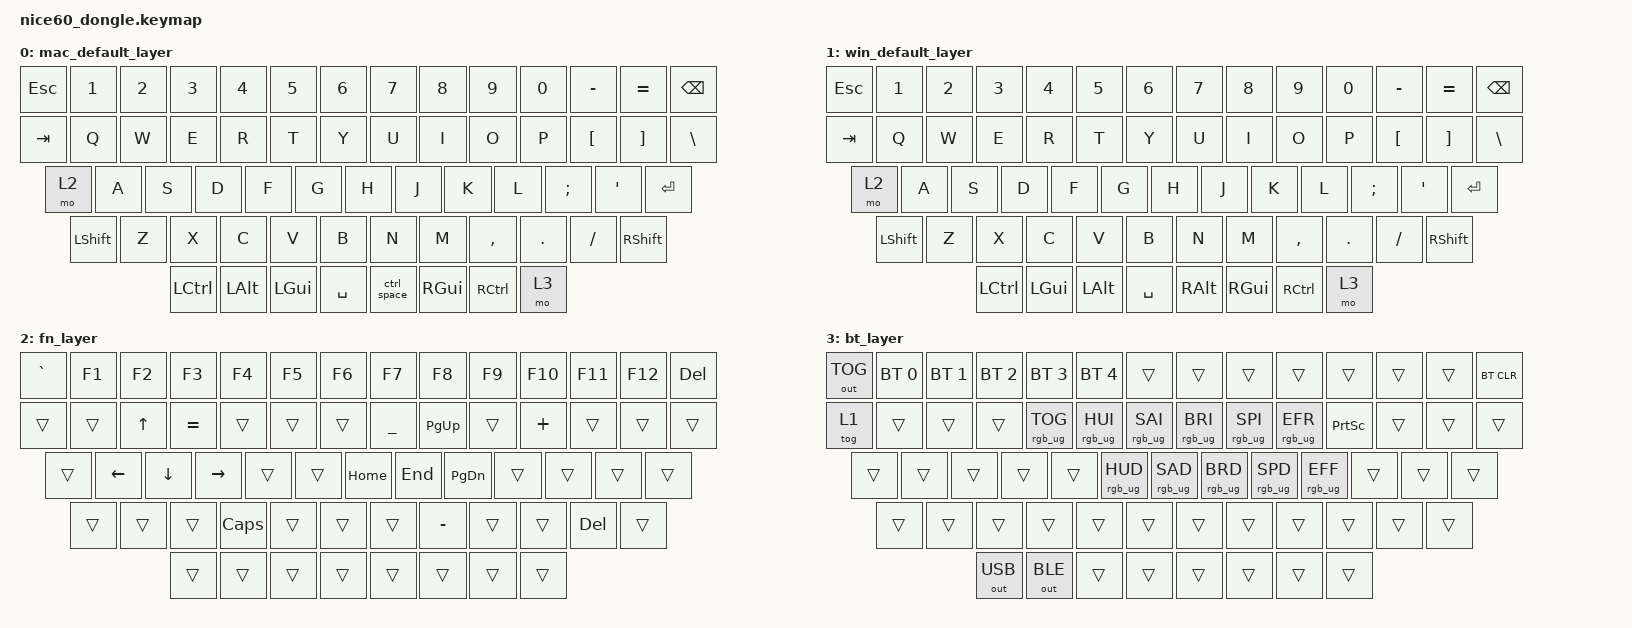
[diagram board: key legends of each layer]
/*
 * Copyright (c) 2021 Nick Winans
 * SPDX-License-Identifier: MIT
 *
 * nice!60 동글 키맵
 * ─────────────────────────────────────────────────────────────
 * 동글(central)이 키맵을 실행한다. peripheral(nice!60)은 키 위치
 * 인덱스만 동글로 전송하며, 동글이 이 파일의 behavior를 수행한다.
 *
 * &out OUT_USB  → 동글을 USB HID 출력으로 전환
 * &out OUT_BLE  → 동글을 BLE 출력으로 전환 (배터리 무선 모드)
 * &out OUT_TOG  → USB ↔ BLE 토글
 * ─────────────────────────────────────────────────────────────
 */

#include <behaviors.dtsi>
#include <dt-bindings/zmk/keys.h>
#include <dt-bindings/zmk/rgb.h>
#include <dt-bindings/zmk/bt.h>
#include <dt-bindings/zmk/outputs.h>
#include <dt-bindings/zmk/reset.h>
#include <dt-bindings/zmk/ext_power.h>

/ {
	macros {
        ctrl_space: ctrl_space {
            label = "ZM_ctrl_space";
            compatible = "zmk,behavior-macro";
            #binding-cells = <0>;
        wait-ms = <30>;
        tap-ms = <40>;
            bindings
                = <&macro_press &kp LCTRL>
                , <&macro_tap &kp SPACE>
                , <&macro_release &kp LCTRL>
                ;
        };
    };

	keymap {
		compatible = "zmk,keymap";

		mac_default_layer {
// ------------------------------------------------------------------------------------------
// | ESC |  1  |  2  |  3  |  4  |  5  |  6  |  7  |  8  |  9  |  0  |  -  |  =  |   BKSP   |
// | TAB  |  Q  |  W  |  E  |  R  |  T  |  Y  |  U  |  I  |  O  |  P  |  [  |  ]  |   "|"   |
// | MO(2) |  A  |  S  |  D  |  F  |  G  |  H  |  J  |  K  |  L  |  ;  |  '  |     ENTER    |
// |  SHIFT  |  Z  |  X  |  C  |  V  |  B  |  N  |  M  |  ,  |  .  |  /  |      SHIFT       |
// |  CTL  |  ALT  |  WIN  |            SPACE              |  ALT  |  WIN  |  CTL  |  MO(3)  |
// ------------------------------------------------------------------------------------------
			bindings = <
	&kp ESC &kp N1 &kp N2 &kp N3 &kp N4 &kp N5 &kp N6 &kp N7 &kp N8 &kp N9 &kp N0 &kp MINUS &kp EQUAL  &kp BSPC
	&kp TAB  &kp Q  &kp W  &kp E  &kp R  &kp T  &kp Y  &kp U  &kp I  &kp O  &kp P  &kp LBKT  &kp RBKT  &kp BSLH
	&mo 2     &kp A  &kp S  &kp D  &kp F  &kp G  &kp H  &kp J  &kp K  &kp L  &kp SEMI &kp SQT           &kp RET
	&kp LSHFT  &kp Z  &kp X  &kp C  &kp V  &kp B  &kp N  &kp M  &kp COMMA &kp DOT &kp FSLH            &kp RSHFT
	&kp LCTRL &kp LALT &kp LGUI             &kp SPACE                      &ctrl_space &kp RGUI &kp RCTRL &mo 3
			>;
		};

		win_default_layer {
// ------------------------------------------------------------------------------------------
// | ESC |  1  |  2  |  3  |  4  |  5  |  6  |  7  |  8  |  9  |  0  |  -  |  =  |   BKSP   |
// | TAB  |  Q  |  W  |  E  |  R  |  T  |  Y  |  U  |  I  |  O  |  P  |  [  |  ]  |   "|"   |
// | MO(2) |  A  |  S  |  D  |  F  |  G  |  H  |  J  |  K  |  L  |  ;  |  '  |     ENTER    |
// |  SHIFT  |  Z  |  X  |  C  |  V  |  B  |  N  |  M  |  ,  |  .  |  /  |      SHIFT       |
// |  CTL  |  ALT  |  WIN  |            SPACE              |  ALT  |  WIN  |  CTL  |  MO(3)  |
// ------------------------------------------------------------------------------------------
			bindings = <
	&kp ESC &kp N1 &kp N2 &kp N3 &kp N4 &kp N5 &kp N6 &kp N7 &kp N8 &kp N9 &kp N0 &kp MINUS &kp EQUAL  &kp BSPC
	&kp TAB  &kp Q  &kp W  &kp E  &kp R  &kp T  &kp Y  &kp U  &kp I  &kp O  &kp P  &kp LBKT  &kp RBKT  &kp BSLH
	&mo 2     &kp A  &kp S  &kp D  &kp F  &kp G  &kp H  &kp J  &kp K  &kp L  &kp SEMI &kp SQT           &kp RET
	&kp LSHFT  &kp Z  &kp X  &kp C  &kp V  &kp B  &kp N  &kp M  &kp COMMA &kp DOT &kp FSLH            &kp RSHFT
	&kp LCTRL &kp LGUI &kp LALT             &kp SPACE                        &kp RALT  &kp RGUI &kp RCTRL &mo 3
			>;
		};

		fn_layer {
// --------------------------------------------------------------------------------------------
// | ` | F1  | F2  | F3  | F4  | F5  | F6  | F7  | F8  | F9  | F10 | F11 | F12 |   DEL   |
// |         |     |  UP |EQUAL|     |     |      |UNDER|PG_UP|     |PLUS |     |     |       |
// |          |  LT |  DN | RT  |     |     | HOME | END |PG_DN|     |     |     |            |
// |             |     |      | CAPS |     |     |     |     |     |     | DEL |              |
// |        |       |       |                                     |      |      |      |      |
// --------------------------------------------------------------------------------------------
			bindings = <
	&kp GRAVE &kp F1   &kp F2   &kp F3    &kp F4 &kp F5 &kp F6   &kp F7    &kp F8 &kp F9 &kp F10 &kp F11 &kp F12   &kp DEL
	&trans     &trans   &kp UP   &kp EQUAL &trans &trans &trans   &kp UNDER &kp PG_UP &trans &kp PLUS &trans &trans &trans
	&trans      &kp LEFT &kp DOWN &kp RIGHT &trans &trans &kp HOME &kp END   &kp PG_DN &trans &trans  &trans        &trans
	&trans       &trans   &trans   &kp CLCK  &trans &trans &trans   &kp MINUS &trans &trans &kp DEL                 &trans
	&trans &trans &trans                      &trans                           &trans       &trans      &trans      &trans
			>;
		};

		bt_layer {
// ------------------------------------------------------------------------------------------------
// | OUT_TOG | BT0 | BT1 | BT2 | BT3 | BT4 | F6  | F7  | F8  | F9  | F10  | F11 | F12 | BT_CLR |
// |         |   |     |   | RGB_TOG | HUI | SAI | BRI | SPI | EFR | PSCRN |     |     |        |
// |          |    |      |    | xxx | HUD | SAD | BRD | SPD | EFF |   |     |                   |
// |             |     |      |      |     |     |     |     |     |     |     |                  |
// |  OUT_USB  | OUT_BLE |      |                           |      |       |       |             |
// ------------------------------------------------------------------------------------------------
			bindings = <
	&out OUT_TOG &bt BT_SEL 0 &bt BT_SEL 1 &bt BT_SEL 2 &bt BT_SEL 3 &bt BT_SEL 4    &trans          &trans          &trans          &trans          &trans          &trans &trans &bt BT_CLR
	&tog 1        &trans       &trans       &trans       &rgb_ug RGB_TOG &rgb_ug RGB_HUI &rgb_ug RGB_SAI &rgb_ug RGB_BRI &rgb_ug RGB_SPI &rgb_ug RGB_EFR &kp PSCRN &trans    &trans    &trans
	&trans         &trans       &trans       &trans       &trans          &rgb_ug RGB_HUD &rgb_ug RGB_SAD &rgb_ug RGB_BRD &rgb_ug RGB_SPD &rgb_ug RGB_EFF &trans          &trans       &trans
	&trans          &trans       &trans       &trans       &trans       &trans          &trans          &trans          &trans          &trans          &trans                         &trans
	&out OUT_USB  &out OUT_BLE  &trans                                  &trans                                            &trans               &trans              &trans             &trans
			>;
		};
	};
};
